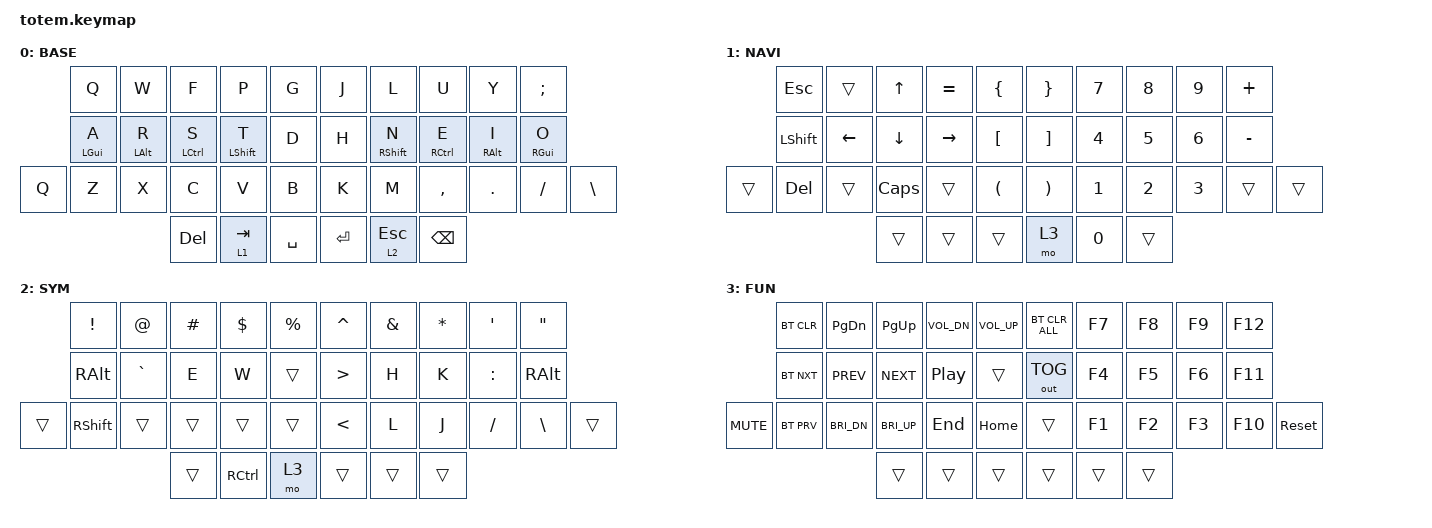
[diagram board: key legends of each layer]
//
//                                                        ▀▀▀▀▀     ▀▀▀▀▀          ▀▀█▀▀
//                                                        ▄▀▀▀▄  ▄  ▄▀▀▀▄  ▄  ▄▀▀▀▄  █  ▄▀▀▀▄
//                                                        █   █  █  █   █  █  █   █  █  █   █
//                                                         ▀▀▀   █   ▀▀▀   █   ▀▀▀   ▀   ▀▀▀
//                                                               █      ▄▄▄█▄▄▄    █   █  
//                                                               ▀      █  █  █     █▄█
//                                                             ▀▀▀▀▀    █  █  █      ▀
//                                                                      ▀  ▀  ▀
//
// ▄▄▄▄▄▄▄▄▄▄▄▄▄▄▄▄▄▄▄▄▄▄▄▄▄▄▄▄▄▄▄▄▄▄▄▄▄▄▄▄▄▄▄▄▄▄▄▄▄▄▄▄▄▄▄▄▄▄▄▄▄▄▄▄▄▄▄▄▄▄▄▄▄▄▄▄▄▄▄▄▄▄▄▄▄▄▄▄▄▄▄▄▄▄▄▄▄▄▄▄▄▄▄▄▄▄▄▄▄▄▄▄▄▄▄▄▄▄▄▄▄▄▄▄▄▄▄▄▄▄▄▄▄▄▄▄▄▄▄▄▄▄▄▄▄▄▄▄▄

#include <behaviors.dtsi>
#include <dt-bindings/zmk/bt.h>
#include <dt-bindings/zmk/keys.h>
#include <dt-bindings/zmk/outputs.h>

#define BASE 0
#define NAV  1
#define SYM  2
#define ADJ  3

&mt {
    quick-tap-ms = <100>;
    global-quick-tap;
    flavor = "tap-preferred";
    tapping-term-ms = <170>;
};

/ {
    combos {
        compatible = "zmk,combos";

        combo_esc {
            timeout-ms = <50>;
            key-positions = <0 1>;
            bindings = <&kp ESC>;
        };
    };

    keymap {
        compatible = "zmk,keymap";

        // ▄▄▄▄▄▄▄▄▄▄▄▄▄▄▄▄▄▄▄▄▄▄▄▄▄▄▄▄▄▄▄▄▄▄▄▄▄▄▄▄▄▄▄▄▄▄▄▄▄▄▄▄▄▄▄▄▄▄▄▄▄▄▄▄▄▄▄▄▄▄▄▄▄▄▄▄▄▄▄▄▄▄▄▄▄▄▄▄▄▄▄▄▄▄▄▄▄▄▄▄▄▄▄▄▄▄▄▄▄▄▄▄▄▄▄▄▄▄▄▄▄▄▄▄▄▄▄▄▄▄▄▄▄▄▄▄▄▄▄▄▄▄▄▄▄▄▄▄▄

        base_layer {
            // ┏━━━━━━━━━━━━━━━━━━━━━━━━━━━━━━━━━━━━━━━┓

            label = "BASE";

            // ┗━━━━━━━━━━━━━━━━━━━━━━━━━━━━━━━━━━━━━━━┛

            bindings = <
       &kp Q       &kp W       &kp F        &kp P        &kp G        &kp J    &kp L        &kp U        &kp Y       &kp SEMI
       &mt LGUI A  &mt LALT R  &mt LCTRL S  &mt LSHFT T  &kp D        &kp H    &mt RSHFT N  &mt RCTRL E  &mt RALT I  &mt RGUI O
&kp Q  &kp Z       &kp X       &kp C        &kp V        &kp B        &kp K    &kp M        &kp COMMA    &kp DOT     &kp FSLH    &kp BSLH
                               &kp DEL      &lt 1 TAB    &kp SPACE    &kp RET  &lt 2 ESC    &kp BSPC
            >;
        };

        // ▄▄▄▄▄▄▄▄▄▄▄▄▄▄▄▄▄▄▄▄▄▄▄▄▄▄▄▄▄▄▄▄▄▄▄▄▄▄▄▄▄▄▄▄▄▄▄▄▄▄▄▄▄▄▄▄▄▄▄▄▄▄▄▄▄▄▄▄▄▄▄▄▄▄▄▄▄▄▄▄▄▄▄▄▄▄▄▄▄▄▄▄▄▄▄▄▄▄▄▄▄▄▄▄▄▄▄▄▄▄▄▄▄▄▄▄▄▄▄▄▄▄▄▄▄▄▄▄▄▄▄▄▄▄▄▄▄▄▄▄▄▄▄▄▄▄▄▄▄

        nav_layer {
            // ┏━━━━━━━━━━━━━━━━━━━━━━━━━━━━━━━━━━━━━━━┓

            label = "NAVI";

            // ┗━━━━━━━━━━━━━━━━━━━━━━━━━━━━━━━━━━━━━━━┛

            bindings = <
        &kp ESC    &trans  &kp UP    &kp EQUAL  &kp LBRC    &kp RBRC  &kp N7  &kp N8  &kp N9  &kp PLUS
        &kp LSHFT  &kp LEFT    &kp DOWN  &kp RIGHT  &kp LBKT    &kp RBKT  &kp N4  &kp N5  &kp N6  &kp MINUS
&trans  &kp DEL    &trans      &kp CAPS  &trans     &kp LPAR    &kp RPAR  &kp N1  &kp N2  &kp N3  &trans     &trans
                               &trans    &trans     &trans      &mo 3     &kp N0  &trans
            >;
        };

        // ▄▄▄▄▄▄▄▄▄▄▄▄▄▄▄▄▄▄▄▄▄▄▄▄▄▄▄▄▄▄▄▄▄▄▄▄▄▄▄▄▄▄▄▄▄▄▄▄▄▄▄▄▄▄▄▄▄▄▄▄▄▄▄▄▄▄▄▄▄▄▄▄▄▄▄▄▄▄▄▄▄▄▄▄▄▄▄▄▄▄▄▄▄▄▄▄▄▄▄▄▄▄▄▄▄▄▄▄▄▄▄▄▄▄▄▄▄▄▄▄▄▄▄▄▄▄▄▄▄▄▄▄▄▄▄▄▄▄▄▄▄▄▄▄▄▄▄▄▄

        sim_layer {
            // ┏━━━━━━━━━━━━━━━━━━━━━━━━━━━━━━━━━━━━━━━┓

            label = "SYM";

            // ┗━━━━━━━━━━━━━━━━━━━━━━━━━━━━━━━━━━━━━━━┛

            bindings = <
        &kp EXCL    &kp AT     &kp HASH  &kp DLLR   &kp PRCNT    &kp CARET         &kp AMPS  &kp ASTERISK  &kp SQT    &kp DQT
        &kp RALT    &kp GRAVE  &kp E     &kp W      &trans       &kp GREATER_THAN  &kp H     &kp K         &kp COLON  &kp RALT
&trans  &kp RSHIFT  &trans     &trans    &trans     &trans       &kp LESS_THAN     &kp L     &kp J         &kp SLASH  &kp BSLH  &trans
                               &trans    &kp RCTRL  &mo 3        &trans            &trans    &trans
            >;
        };

        // ▄▄▄▄▄▄▄▄▄▄▄▄▄▄▄▄▄▄▄▄▄▄▄▄▄▄▄▄▄▄▄▄▄▄▄▄▄▄▄▄▄▄▄▄▄▄▄▄▄▄▄▄▄▄▄▄▄▄▄▄▄▄▄▄▄▄▄▄▄▄▄▄▄▄▄▄▄▄▄▄▄▄▄▄▄▄▄▄▄▄▄▄▄▄▄▄▄▄▄▄▄▄▄▄▄▄▄▄▄▄▄▄▄▄▄▄▄▄▄▄▄▄▄▄▄▄▄▄▄▄▄▄▄▄▄▄▄▄▄▄▄▄▄▄▄▄▄▄▄

        function_layer {
            // ┏━━━━━━━━━━━━━━━━━━━━━━━━━━━━━━━━━━━━━━━┓

            label = "FUN";

            // ┗━━━━━━━━━━━━━━━━━━━━━━━━━━━━━━━━━━━━━━━┛

            bindings = <
            &bt BT_CLR  &kp PG_DN     &kp PG_UP     &kp C_VOL_DN  &kp C_VOL_UP    &bt BT_CLR_ALL  &kp F7  &kp F8  &kp F9  &kp F12
            &bt BT_NXT  &kp C_PREV    &kp C_NEXT    &kp C_PP      &trans          &out OUT_TOG    &kp F4  &kp F5  &kp F6  &kp F11
&kp K_MUTE  &bt BT_PRV  &kp C_BRI_DN  &kp C_BRI_UP  &kp END       &kp HOME        &trans          &kp F1  &kp F2  &kp F3  &kp F10  &sys_reset
                                      &trans        &trans        &trans          &trans          &trans  &trans
            >;
        };

        // ▄▄▄▄▄▄▄▄▄▄▄▄▄▄▄▄▄▄▄▄▄▄▄▄▄▄▄▄▄▄▄▄▄▄▄▄▄▄▄▄▄▄▄▄▄▄▄▄▄▄▄▄▄▄▄▄▄▄▄▄▄▄▄▄▄▄▄▄▄▄▄▄▄▄▄▄▄▄▄▄▄▄▄▄▄▄▄▄▄▄▄▄▄▄▄▄▄▄▄▄▄▄▄▄▄▄▄▄▄▄▄▄▄▄▄▄▄▄▄▄▄▄▄▄▄▄▄▄▄▄▄▄▄▄▄▄▄▄▄▄▄▄▄▄▄▄▄▄▄
        // ▄▄▄▄▄▄▄▄▄▄▄▄▄▄▄▄▄▄▄▄▄▄▄▄▄▄▄▄▄▄▄▄▄▄▄▄▄▄▄▄▄▄▄▄▄▄▄▄▄▄▄▄▄▄▄▄▄▄▄▄▄▄▄▄▄▄▄▄▄▄▄▄▄▄▄▄▄▄▄▄▄▄▄▄▄▄▄▄▄▄▄▄▄▄▄▄▄▄▄▄▄▄▄▄▄▄▄▄▄▄▄▄▄▄▄▄▄▄▄▄▄▄▄▄▄▄▄▄▄▄▄▄▄▄▄▄▄▄▄▄▄▄▄▄▄▄▄▄▄
    };
};
